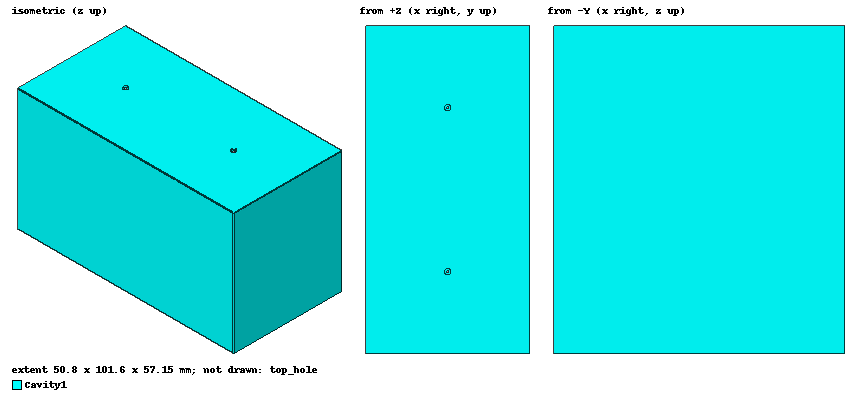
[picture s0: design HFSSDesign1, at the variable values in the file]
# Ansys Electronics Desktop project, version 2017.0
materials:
  vacuum: permittivity=1
  perfect conductor: conductivity=1e+030

design HFSSDesign1 (HFSS, DrivenModal, model units mm)
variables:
  inner_pole_radius = 0.1in
  inner_pole_height = 0.3in
  pin_length = 1.45in
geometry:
  Cavity1 [perfect conductor] = box(corner=(0in, 0in, 0in), size=(2in, 2in, 2.25in))
  Cylinder4 = cylinder(axis=Z, base_centre=(1in, 1in, 0.1in), radius=0.85in, height=2in)
  Cylinder5 = cylinder(axis=Z, base_centre=(1in, 1in, 0.1in), radius=inner_pole_radius, height=inner_pole_height)
  Cylinder5_1 = Cylinder5.copy()
  Cylinder4.subtract(Cylinder5_1)
  Cylinder4_1 = Cylinder4.copy()
  Cavity1.subtract(Cylinder4_1)
  Cavity1.unite(Cylinder5)
  Cavity1_1 = Cavity1.duplicate_along_line(step=(0in, 2in, 0in), total=2)
  Cylinder4_2 = Cylinder4.duplicate_along_line(step=(0in, 2in, 0in), total=2)
  Cylinder6 = cylinder(axis=Y, base_centre=(1in, 1.8in, 0.3in), radius=0.05in, height=0.4in)
  Cylinder6_1 = Cylinder6.copy()
  Cavity1.subtract(Cylinder6_1)
  Cylinder6_2 = Cylinder6.copy()
  Cavity1_1.subtract(Cylinder6_2)
  Cylinder6_3 = Cylinder6.copy()
  Cylinder4.subtract(Cylinder6_3)
  Cylinder6_4 = Cylinder6.copy()
  Cylinder4_2.subtract(Cylinder6_4)
  Cylinder4_2.unite(Cylinder6, Cylinder4)
  Cavity1.unite(Cavity1_1)
  top_hole [vacuum] = cylinder(axis=Z, base_centre=(1in, 1in, 2.1in), radius=0.043in, height=0.15in)
  top_hole_1 = top_hole.duplicate_along_line(step=(0in, 2in, 0in), total=2)
  top_hole_2 = top_hole.copy()
  Cavity1.subtract(top_hole_2)
  top_hole_1_1 = top_hole_1.copy()
  Cavity1.subtract(top_hole_1_1)
  top_hole.unite(top_hole_1, Cylinder4_2)
  pin [perfect conductor] = cylinder(axis=Z, base_centre=(1in, 1in, 2.25in), radius=0.01in, height=-pin_length)
  pin_1 [perfect conductor] = pin.duplicate_along_line(step=(0in, 2in, 0in), total=2)
  pin_1_1 = pin_1.copy()
  top_hole.subtract(pin_1_1)
  pin_2 = pin.copy()
  top_hole.subtract(pin_2)
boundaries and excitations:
  port_L: Wave Port Faces=top_hole.face(3 of 3) NumModes=1 DeembedDist=pin_length Modes{Mode1{IntLine{top_hole.edge(at (25.146, 25.4, 57.15)) at -0.25 along -> top_hole.edge(2 of 2) at 0.25 along} CharImp=Zpi}}
  port_R: Wave Port Faces=top_hole.face(3 of 3) NumModes=1 DeembedDist=pin_length Modes{Mode1{IntLine{top_hole.edge(at (25.146, 76.2, 57.15)) at 0.25 along -> top_hole.edge(2 of 2) at -0.25 along} CharImp=Zpi}}
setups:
  Setup1: HfssDriven Frequency=4.8GHz MaxDeltaS=0.02 MaximumPasses=6 MinimumPasses=1 MinimumConvergedPasses=1 PercentRefinement=30 BasisOrder=1 PortAccuracy=2 RayDensityPerWavelength=4 MaxNumberOfBounces=5
    sweep Sweep: 4.6GHz to 5.2GHz, 100 points; Type=Fast SaveFields
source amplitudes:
  port_L:1: 1W 0deg
  port_R:1: 0W 0deg
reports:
  XY Plot 1: ang_deg(S(port_L,port_L)), arg(S(port_L,port_R)), arg(S(port_R,port_L)), arg(S(port_R,port_R)) vs Freq on Setup1 : Sweep
  XY Plot 2: dB(S(port_L,port_L)), dB(S(port_L,port_R)), dB(S(port_R,port_L)), dB(S(port_R,port_R)) vs Freq on Setup1 : Sweep
